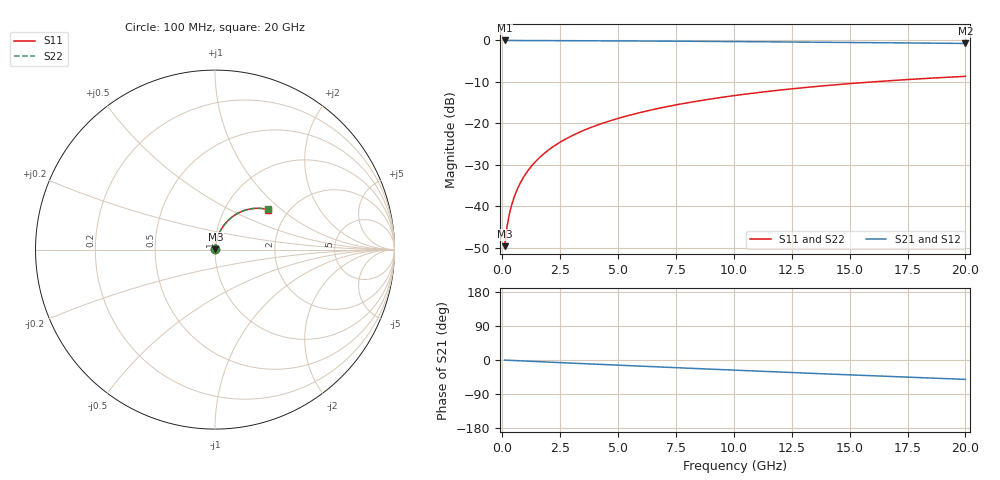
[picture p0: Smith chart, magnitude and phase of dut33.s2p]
! Touchstone file exported from HFSS 2026.1.0
!  File:  C:/ffzhzh/LocalFiles/Ansys_Project_Files/temp_train_BSMRDL_33_1782882249_46784.aedt
!  Generated:  01:05:34 PM Jul  1, 2026
!  Design:  BSMRDL
!  Project:  temp_train_BSMRDL_33_1782882249_46784
! Variables:
!  h_bsmrdl = 5.95um
!  h_ox = 20um
!  h_rdl = 5um
!  h_sub = 80um
!  h_tmrdl = 5um
!  h_tsv = 80um
!  h_via = 3um
!  l_bsmrdl = 817.48um
!  l_sub = 1217.48um
!  l_tmrdl = 200um
!  m_sub = 200um
!  pitch = 53.77um
!  r_tsv = 6um
!  s_tmrdl = 10um
!  w_bsmrdl = 28.46um
!  w_sub = 500um
!  w_tmrdl = 12um
!  x_tsv_center1 = 206um
!  x_tsv_center2 = 1051.94um
!  x_tsv_center3 = 1263.94um
!  x_tsv_center4 = 2109.88um
!  x_tsv_center5 = 2321.88um
!  x_tsv_center6 = 3167.82um
# GHz S MA R 50.000000
! Terminal data exported
! Port[1] = BSM_RDL1_1_T1
! Port[2] = BSM_RDL1_1_T2
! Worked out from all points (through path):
!   200 points, 100 MHz to 20 GHz, reference 50 ohm
!   highest |S21| = -0.02 dB at 100 MHz (marker M1); lowest = -0.7 dB at 20 GHz (marker M2)
!   group delay of S21, straight-line fit = 7.09 ps
!   lowest |S11| = -49.6 dB at 100 MHz (marker M3), VSWR 1.01, Z = 50.2 + j0.266 ohm
!   |S11| at or under -10 dB: start of sweep to 16.02 GHz
!   |S22| runs from -49.6 to -8.7 dB; largest |S21 - S12| = 3.5e-15
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0.1  0.003298 53.5  0.9981 -0.3  0.9981 -0.3  0.003298 53.5
! Gamma 0 0 0 0
! Port Impedance 50 0 50 0
0.2  0.005595 66.9  0.9978 -0.6  0.9978 -0.6  0.005595 66.9
0.3  0.007916 72.3  0.9977 -0.9  0.9977 -0.9  0.007916 72.3
0.4  0.01024 75.2  0.9976 -1.1  0.9976 -1.1  0.01024 75.2
0.5  0.01256 77.1  0.9975 -1.4  0.9975 -1.4  0.01256 77.1
0.7  0.01725 79.2  0.9973 -2.0  0.9973 -2.0  0.01725 79.3
0.8  0.01961 79.8  0.9972 -2.2  0.9972 -2.2  0.01961 79.8
1  0.02433 80.5  0.997 -2.8  0.997 -2.8  0.02433 80.5
1.2  0.02904 80.8  0.9967 -3.4  0.9967 -3.4  0.02904 80.8
1.4  0.03375 80.8  0.9964 -3.9  0.9964 -3.9  0.03375 80.8
1.7  0.04077 80.5  0.9958 -4.7  0.9958 -4.7  0.04077 80.5
2  0.04775 80.1  0.9953 -5.6  0.9953 -5.6  0.04774 80.1
2.7  0.06381 78.6  0.9937 -7.5  0.9937 -7.5  0.0638 78.7
3.5  0.08179 76.8  0.9916 -9.6  0.9916 -9.6  0.08179 76.8
4.2  0.09724 75.1  0.9896 -11.5  0.9896 -11.5  0.09724 75.2
5  0.1146 73.2  0.9872 -13.7  0.9872 -13.7  0.1146 73.2
6.8  0.1525 68.8  0.981 -18.4  0.981 -18.4  0.1525 68.8
8.3  0.1828 65.1  0.9751 -22.4  0.9751 -22.4  0.1827 65.2
10.1  0.2174 60.7  0.9674 -27.0  0.9674 -27.0  0.2174 60.8
13.4  0.2755 52.7  0.9516 -35.3  0.9516 -35.3  0.2755 52.8
16.7  0.326 44.9  0.935 -43.3  0.935 -43.3  0.326 45.0
20  0.3684 37.3  0.9189 -51.1  0.9189 -51.1  0.3684 37.4
